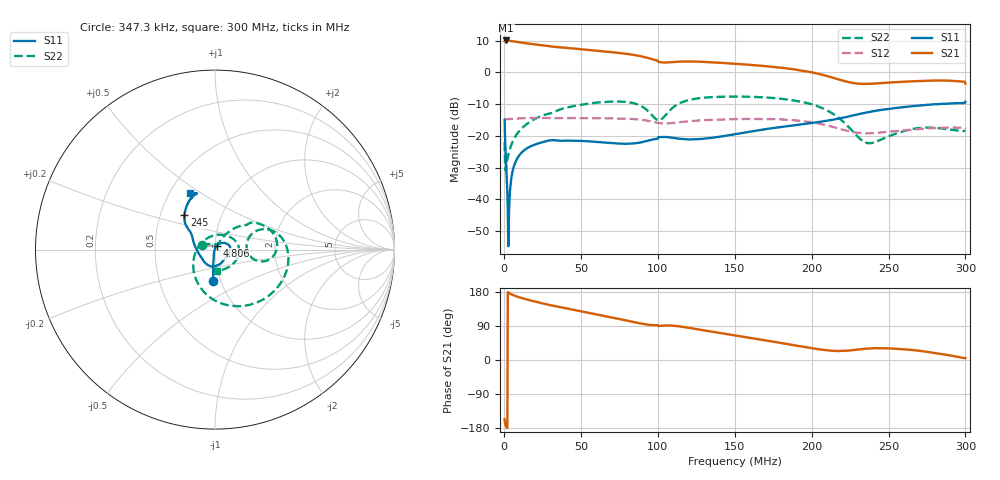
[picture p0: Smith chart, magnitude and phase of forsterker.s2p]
# HZ S RI R 50
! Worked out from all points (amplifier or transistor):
!   1009 points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, 347.3 kHz to 300 MHz, reference 50 ohm
!   highest |S21| = 10.1 dB at 1.239 MHz (marker M1)
!   |S21| within 3 dB of that: start of sweep to 55.35 MHz
!   unconditionally stable (mu >= 1): start of sweep to end of sweep
!   at 50.29 MHz: K = 1.25, MAG = 7.9 dB, |S12| = -14.4 dB
!   at 150.2 MHz: K = 1.78, MAG = 3.6 dB, |S12| = -14.7 dB
!   at 300 MHz: K = 5.07, MAG = -2.9 dB, |S12| = -17.7 dB
!   S11 on the Smith chart (normalised r, x): 347.3 kHz: 0.92, -0.34; 4.806 MHz: 1.02, +0.04; 245 MHz: 0.67, +0.27; 300 MHz: 0.63, +0.45
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347275  -0.0106 -0.1772  -2.836 -1.239  0.158 0.0843  -0.0741 0.0279
1239100  -0.00762 -0.0408  -3.171 -0.2757  0.1806 0.0277  0.0118 0.0294
2130925  -0.00474 -0.0115  -3.175 -0.00819  0.1827 0.0168  0.0208 0.0371
3022750  -0.000481 0.00367  -3.153 0.1523  0.1836 0.0124  0.0268 0.0459
3914575  0.0042 0.0135  -3.123 0.2718  0.1846 0.00996  0.0326 0.0541
4806400  0.00896 0.0203  -3.088 0.3697  0.1853 0.00797  0.0386 0.0621
8373700  0.027 0.034  -2.942 0.6546  0.1878 0.00329  0.0621 0.0868
1.580558e7  0.0543 0.0366  -2.647 1.036  0.1904 -0.0044  0.1073 0.1186
2.85884e7  0.0813 0.0204  -2.159 1.456  0.1903 -0.0167  0.1745 0.1371
5.028948e7  0.0809 -0.0184  -1.431 1.818  0.1875 -0.0324  0.2823 0.1281
7.942242e7  0.0529 -0.0534  -0.4865 1.9  0.1778 -0.0563  0.342 -0.00493
1.002317e8  -0.00929 -0.0946  0.00481 1.462  0.1477 -0.0606  0.1768 0.00641
1.183654e8  -0.0693 -0.0548  0.1016 1.48  0.1615 -0.0484  0.3451 0.091
1.501739e8  -0.1058 0.0069  0.581 1.238  0.1664 -0.0767  0.3992 -0.1161
1.772259e8  -0.123 0.0554  0.824 0.8785  0.1485 -0.1063  0.2827 -0.2689
2.001161e8  -0.1327 0.0884  0.8572 0.5158  0.1116 -0.1189  0.0617 -0.3078
2.188444e8  -0.1497 0.1158  0.6942 0.3044  0.0794 -0.1002  -0.1144 -0.1404
2.343027e8  -0.1684 0.1561  0.5725 0.3234  0.0803 -0.0743  -0.0646 0.0475
2.450046e8  -0.17 0.1907  0.579 0.3527  0.0899 -0.0686  0.0253 0.0831
2.500583e8  -0.1677 0.2058  0.5937 0.3532  0.0936 -0.0686  0.0576 0.0794
2.717594e8  -0.1473 0.2648  0.6747 0.2933  0.1026 -0.0778  0.134 0.00711
3.000005e8  -0.1371 0.3149  0.6625 0.0583  0.0929 -0.0906  0.0129 -0.117
